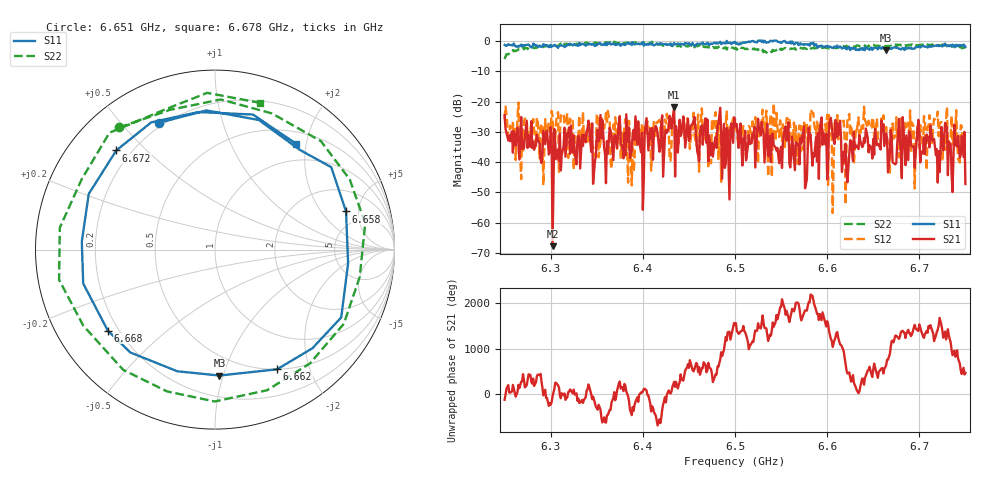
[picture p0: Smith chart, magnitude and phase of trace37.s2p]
# Hz S RI R 50
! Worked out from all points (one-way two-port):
!   401 points, 6.25 GHz to 6.75 GHz, reference 50 ohm
!   highest |S21| = -21.94 dB at 6.434 GHz (marker M1); lowest = -67.8 dB at 6.302 GHz (marker M2)
!   lowest |S11| = -3.1 dB at 6.664 GHz (marker M3), VSWR 5.71, Z = 17.6 - j48.6 ohm
!   |S11| at or under -10 dB: nowhere
!   |S22| runs from -5.9 to -0.2 dB; largest |S21 - S12| = 0.12
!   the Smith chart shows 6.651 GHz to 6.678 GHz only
!   S11 on the Smith chart (normalised r, x): 6.651 GHz: 0.18, +0.64; 6.658 GHz: 3.57, +3.60; 6.662 GHz: 0.50, -1.53; 6.668 GHz: 0.16, -0.33; 6.672 GHz: 0.14, +0.41; 6.678 GHz: 0.69, +1.82
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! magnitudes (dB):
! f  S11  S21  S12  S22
! 6.25 GHz  -1.3  -24.5  -25.8  -5.9
! 6.302 GHz  -1.7  -67.8  -24.8  -1.8
! 6.334 GHz  -0.9  -30.9  -31.7  -1.1
! 6.389 GHz  -0.4  -30.7  -32.4  -0.7
! 6.418 GHz  -1.1  -36.6  -26.1  -0.9
! 6.434 GHz  -0.6  -21.9  -26.0  -1.5
! 6.491 GHz  0.1  -28.7  -23.3  -2.8
! 6.5 GHz  -0.3  -26.7  -25.7  -2.5
! 6.584 GHz  -0.9  -41.2  -23.7  -2.3
! 6.604 GHz  -1.9  -25.4  -31.3  -2.1
! 6.612 GHz  -2.2  -31.2  -32.5  -2.2
! 6.621 GHz  -2.7  -44.0  -36.3  -1.6
! 6.651 GHz  -2.2  -37.6  -31.9  -1.3
! 6.658 GHz  -2.4  -35.8  -33.5  -1.4
! 6.662 GHz  -2.5  -34.7  -34.6  -1.7
! 6.664 GHz  -3.1  -30.5  -28.4  -1.6
! 6.668 GHz  -2.5  -37.0  -43.8  -1.5
! 6.672 GHz  -2.2  -40.4  -32.3  -1.5
! 6.678 GHz  -2.6  -25.7  -38.4  -1.4
! 6.72 GHz  -1.3  -46.8  -23.3  -1.4
! 6.728 GHz  -0.8  -27.0  -36.0  -1.4
! 6.75 GHz  -2.0  -47.3  -29.9  -2.1
